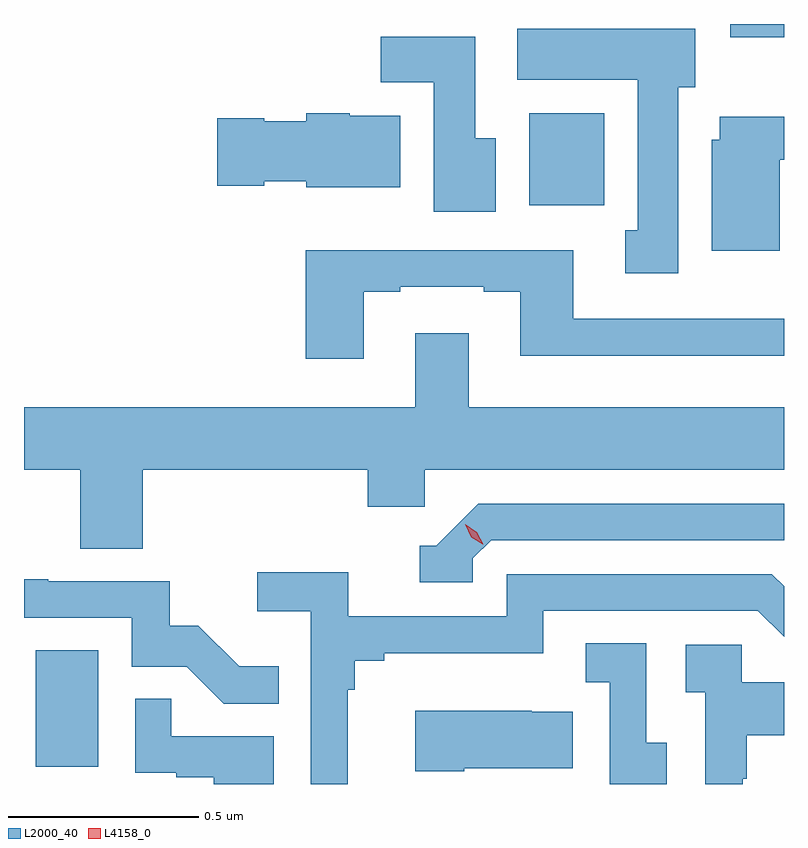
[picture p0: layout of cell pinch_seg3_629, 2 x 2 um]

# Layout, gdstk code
import gdstk
lib = gdstk.Library(unit=1e-6, precision=1e-09)
def R(c, l, rs):  # rectangles x0, y0, x1, y1
    for r in rs: c.add(gdstk.rectangle(r[:2], r[2:], *l))
def P(c, l, *ps):  # polygons
    for p in ps: c.add(gdstk.Polygon(p, *l))
L2000_40 = (2000, 40)
L4158_0 = (4158, 0)

pinch_seg3_629 = lib.new_cell('pinch_seg3_629')
R(pinch_seg3_629, L2000_40, [(1065.53,668.166,1065.694,668.473), (1066.829,669.644,1067.026,669.886), (1067.357,670.086,1067.499,670.121)])
P(pinch_seg3_629, L2000_40, [(1067.221,669.954),(1067.266,669.954),(1067.266,670.108),(1066.797,670.108),(1066.797,669.974),(1067.114,669.974),(1067.114,669.578),(1067.081,669.578),(1067.081,669.465),(1067.221,669.465)],
  [(1066.741,669.82),(1066.687,669.82),(1066.687,670.087),(1066.438,670.087),(1066.438,669.968),(1066.577,669.968),(1066.577,669.627),(1066.741,669.627)],
  [(1066.489,669.88),(1066.356,669.88),(1066.356,669.886),(1066.242,669.886),(1066.242,669.865),(1066.131,669.865),(1066.131,669.873),(1066.008,669.873),(1066.008,669.695),(1066.131,669.695),(1066.131,669.707),(1066.242,669.707),(1066.242,669.692),(1066.489,669.692)],
  [(1067.488,669.764),(1067.499,669.764),(1067.499,669.877),(1067.33,669.877),(1067.33,669.816),(1067.309,669.816),(1067.309,669.524),(1067.488,669.524)],
  [(1066.393,669.417),(1066.489,669.417),(1066.489,669.429),(1066.709,669.429),(1066.709,669.417),(1066.805,669.417),(1066.805,669.248),(1067.499,669.248),(1067.499,669.345),(1066.945,669.345),(1066.945,669.525),(1066.481,669.525),(1066.481,669.526),(1066.241,669.526),(1066.241,669.24),(1066.393,669.24)],
  [(1065.812,668.948),(1066.403,668.948),(1066.403,668.85),(1066.554,668.85),(1066.554,668.948),(1067.499,668.948),(1067.499,669.112),(1066.669,669.112),(1066.669,669.307),(1066.529,669.307),(1066.529,669.112),(1065.499,669.112),(1065.499,668.948),(1065.647,668.948),(1065.647,668.74),(1065.812,668.74)],
  [(1066.68,668.715),(1066.728,668.763),(1067.499,668.763),(1067.499,668.859),(1066.695,668.859),(1066.584,668.748),(1066.541,668.748),(1066.541,668.652),(1066.68,668.652)],
  [(1066.351,668.369),(1066.37,668.369),(1066.37,668.446),(1066.447,668.446),(1066.447,668.465),(1066.866,668.465),(1066.866,668.577),(1067.43,668.577),(1067.499,668.508),(1067.499,668.641),(1067.467,668.673),(1066.77,668.673),(1066.77,668.562),(1066.352,668.562),(1066.352,668.678),(1066.113,668.678),(1066.113,668.576),(1066.254,668.576),(1066.254,668.121),(1066.351,668.121)],
  [(1066.169,668.431),(1066.065,668.431),(1065.958,668.538),(1065.882,668.538),(1065.882,668.655),(1065.563,668.655),(1065.563,668.66),(1065.499,668.66),(1065.499,668.559),(1065.783,668.559),(1065.783,668.43),(1065.927,668.43),(1066.025,668.332),(1066.169,668.332)],
  [(1067.191,668.229),(1067.136,668.229),(1067.136,668.492),(1066.977,668.492),(1066.977,668.389),(1067.04,668.389),(1067.04,668.121),(1067.191,668.121)],
  [(1067.391,668.135),(1067.401,668.135),(1067.401,668.249),(1067.499,668.249),(1067.499,668.389),(1067.388,668.389),(1067.388,668.487),(1067.241,668.487),(1067.241,668.363),(1067.292,668.363),(1067.292,668.121),(1067.391,668.121)],
  [(1066.156,668.247),(1065.887,668.247),(1065.887,668.345),(1065.792,668.345),(1065.792,668.151),(1065.899,668.151),(1065.899,668.139),(1065.998,668.139),(1065.998,668.121),(1066.156,668.121)],
  [(1066.657,668.162),(1066.943,668.162),(1066.943,668.311),(1066.835,668.311),(1066.835,668.314),(1066.529,668.314),(1066.529,668.155),(1066.657,668.155)])
P(pinch_seg3_629, L4158_0, [(1066.706,668.752),(1066.676,668.771),(1066.66,668.804),(1066.66,668.804),(1066.66,668.804),(1066.691,668.784),(1066.707,668.752),(1066.707,668.752)])

lib.write_gds('pinch_seg3_629.gds')
